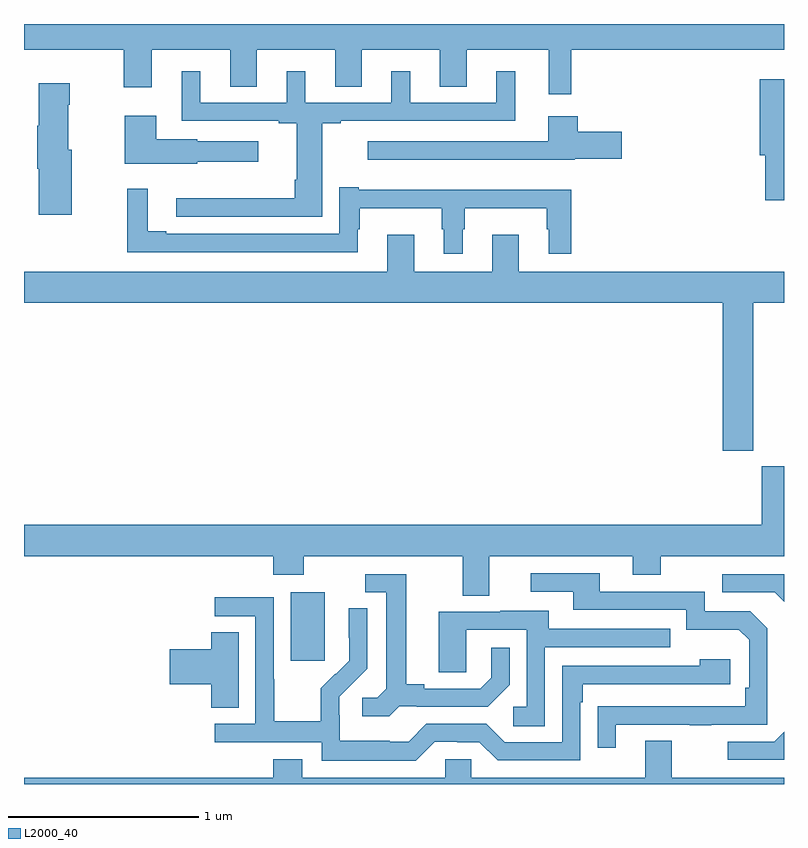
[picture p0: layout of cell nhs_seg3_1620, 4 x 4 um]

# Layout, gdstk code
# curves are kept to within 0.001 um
import gdstk
lib = gdstk.Library(unit=1e-6, precision=1e-09)
def R(c, l, rs):  # rectangles x0, y0, x1, y1
    for r in rs: c.add(gdstk.rectangle(r[:2], r[2:], *l))
def P(c, l, *ps):  # polygons
    for p in ps: c.add(gdstk.Polygon(p, *l))
L2000_40 = (2000, 40)

nhs_seg3_1620 = lib.new_cell('nhs_seg3_1620')
R(nhs_seg3_1620, L2000_40, [(196.403,683.049,196.582,683.41)])
P(nhs_seg3_1620, L2000_40, [(197.879,686.264),(199,686.264),(199,686.4),(195,686.4),(195,686.264),(195.526,686.264),(195.526,686.067),(195.673,686.067),(195.673,686.264),(196.085,686.264),(196.085,686.071),(196.225,686.071),(196.225,686.264),(196.637,686.264),(196.637,686.071),(196.777,686.071),(196.777,686.264),(197.189,686.264),(197.189,686.071),(197.329,686.071),(197.329,686.264),(197.762,686.264),(197.762,686.031),(197.879,686.031)],
  [(196.57,685.878),(196.666,685.878),(196.666,685.89),(197.585,685.89),(197.585,686.152),(197.486,686.152),(197.486,685.986),(197.032,685.986),(197.032,686.152),(196.934,686.152),(196.934,685.986),(196.48,685.986),(196.48,686.152),(196.382,686.152),(196.382,685.986),(195.928,685.986),(195.928,686.152),(195.83,686.152),(195.83,685.89),(196.34,685.89),(196.34,685.878),(196.436,685.878),(196.436,685.579),(196.424,685.579),(196.424,685.484),(195.801,685.484),(195.801,685.386),(196.57,685.386)],
  [(199,686.11),(198.872,686.11),(198.872,685.709),(198.901,685.709),(198.901,685.473),(199,685.473)],
  [(195.25,685.737),(195.232,685.737),(195.232,685.976),(195.24,685.976),(195.24,686.089),(195.077,686.089),(195.077,685.865),(195.07,685.865),(195.07,685.637),(195.077,685.637),(195.077,685.397),(195.25,685.397)],
  [(195.912,685.676),(196.234,685.676),(196.234,685.783),(195.912,685.783),(195.912,685.794),(195.697,685.794),(195.697,685.918),(195.53,685.918),(195.53,685.664),(195.912,685.664)],
  [(197.898,685.691),(198.145,685.691),(198.145,685.833),(197.915,685.833),(197.915,685.915),(197.759,685.915),(197.759,685.782),(196.809,685.782),(196.809,685.685),(197.898,685.685)],
  [(197.308,685.319),(197.32,685.319),(197.32,685.43),(197.751,685.43),(197.751,685.319),(197.762,685.319),(197.762,685.191),(197.879,685.191),(197.879,685.528),(196.762,685.528),(196.762,685.54),(196.659,685.54),(196.659,685.296),(195.748,685.296),(195.748,685.309),(195.652,685.309),(195.652,685.534),(195.543,685.534),(195.543,685.2),(196.756,685.2),(196.756,685.319),(196.768,685.319),(196.768,685.43),(197.199,685.43),(197.199,685.319),(197.21,685.319),(197.21,685.191),(197.308,685.191)],
  [(198.837,684.932),(199,684.932),(199,685.096),(197.605,685.096),(197.605,685.291),(197.465,685.291),(197.465,685.096),(197.053,685.096),(197.053,685.291),(196.913,685.291),(196.913,685.096),(195,685.096),(195,684.932),(198.677,684.932),(198.677,684.153),(198.837,684.153)],
  [(195,683.6),(196.313,683.6),(196.313,683.501),(196.473,683.501),(196.473,683.6),(197.309,683.6),(197.309,683.392),(197.449,683.392),(197.449,683.6),(198.203,683.6),(198.203,683.501),(198.351,683.501),(198.351,683.6),(199,683.6),(199,684.073),(198.884,684.073),(198.884,683.764),(195,683.764)],
  [(198.115,682.713),(198.505,682.713),(198.505,682.708),(198.617,682.708),(198.617,682.713),(198.912,682.713),(198.912,683.22),(198.822,683.31),(198.582,683.31),(198.582,683.412),(198.031,683.412),(198.031,683.508),(197.667,683.508),(197.667,683.412),(197.891,683.412),(197.891,683.316),(198.486,683.316),(198.486,683.213),(198.763,683.213),(198.816,683.16),(198.816,682.906),(198.796,682.906),(198.796,682.809),(198.019,682.808),(198.019,682.59),(198.115,682.59)],
  [(196.974,682.809),(197.068,682.809),(197.068,682.806),(197.44,682.806),(197.556,682.922),(197.556,683.116),(197.459,683.116),(197.459,682.959),(197.402,682.902),(197.107,682.902),(197.107,682.925),(197.011,682.925),(197.011,683.505),(196.797,683.505),(196.797,683.409),(196.907,683.409),(196.907,682.901),(196.86,682.854),(196.779,682.854),(196.779,682.757),(196.922,682.757)],
  [(199,683.505),(198.675,683.505),(198.675,683.409),(198.951,683.409),(199,683.36)],
  [(197.163,682.623),(197.279,682.623),(197.279,682.62),(197.397,682.62),(197.493,682.524),(197.928,682.524),(197.928,682.829),(197.941,682.829),(197.941,682.926),(198.718,682.926),(198.718,683.056),(198.557,683.056),(198.557,683.022),(197.832,683.022),(197.832,682.62),(197.529,682.62),(197.433,682.716),(197.118,682.716),(197.025,682.623),(196.925,682.623),(196.925,682.627),(196.662,682.627),(196.662,682.761),(196.66,682.761),(196.66,682.858),(196.806,683.006),(196.806,683.324),(196.71,683.324),(196.71,683.17),(196.712,683.17),(196.712,683.048),(196.641,682.977),(196.638,682.98),(196.561,682.903),(196.561,682.729),(196.317,682.729),(196.317,682.952),(196.314,682.952),(196.314,683.382),(196.005,683.382),(196.005,683.283),(196.218,683.283),(196.218,682.716),(196.005,682.716),(196.005,682.62),(196.566,682.62),(196.566,682.523),(197.063,682.523)],
  [(197.742,683.121),(198.401,683.121),(198.401,683.217),(197.761,683.217),(197.761,683.311),(197.507,683.311),(197.507,683.307),(197.183,683.307),(197.183,682.987),(197.328,682.987),(197.328,683.211),(197.646,683.211),(197.646,682.806),(197.574,682.806),(197.574,682.705),(197.742,682.705)],
  [(196.129,683.198),(195.986,683.198),(195.986,683.108),(195.768,683.108),(195.768,682.925),(195.986,682.925),(195.986,682.801),(196.129,682.801)],
  [(199,682.675),(198.948,682.623),(198.705,682.623),(198.705,682.527),(199,682.527)],
  [(199,682.432),(198.409,682.432),(198.409,682.627),(198.269,682.627),(198.269,682.432),(197.355,682.432),(197.355,682.53),(197.217,682.53),(197.217,682.432),(196.465,682.432),(196.465,682.531),(196.313,682.531),(196.313,682.432),(195,682.432),(195,682.4),(199,682.4)])

lib.write_gds('nhs_seg3_1620.gds')
